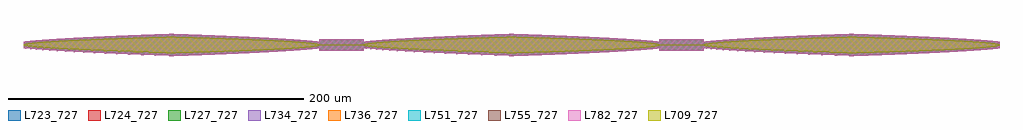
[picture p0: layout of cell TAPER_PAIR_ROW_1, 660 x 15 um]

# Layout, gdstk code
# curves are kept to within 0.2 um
from math import pi, radians
import gdstk
lib = gdstk.Library(unit=1e-6, precision=1e-09)
def R(c, l, rs):  # rectangles x0, y0, x1, y1
    for r in rs: c.add(gdstk.rectangle(r[:2], r[2:], *l))
def P(c, l, *ps):  # polygons
    for p in ps: c.add(gdstk.Polygon(p, *l))
L709_727 = (709, 727)
L723_727 = (723, 727)
L724_727 = (724, 727)
L727_727 = (727, 727)
L734_727 = (734, 727)
L736_727 = (736, 727)
L751_727 = (751, 727)
L755_727 = (755, 727)
L782_727 = (782, 727)

taper_pair_row_1_tp0_tap = lib.new_cell('TAPER_PAIR_ROW_1_tp0_TAPER_L')
P(taper_pair_row_1_tp0_tap, L709_727, [(-100,0.225),(-97.574,0.885),(-92.161,1.555),(-72.988,2.865),(-42.449,4.175),(0,5.5),(0,-5.5),(-45.451,-4.065),(-77.002,-2.645),(-95.36,-1.205),(-99.389,-0.485),(-100,-0.225)])
P(taper_pair_row_1_tp0_tap, L723_727, [(-100,2.225),(-85.015,3.555),(-63.513,4.865),(0,7.5),(0,-7.5),(-59.642,-5.065),(-96.116,-2.635),(-100,-2.225)])
P(taper_pair_row_1_tp0_tap, L724_727, [(-100,2.225),(-85.015,3.555),(-63.513,4.865),(0,7.5),(0,-7.5),(-59.642,-5.065),(-96.116,-2.635),(-100,-2.225)])
P(taper_pair_row_1_tp0_tap, L727_727, [(-100,2.225),(-85.015,3.555),(-63.513,4.865),(0,7.5),(0,-7.5),(-59.642,-5.065),(-96.116,-2.635),(-100,-2.225)])
P(taper_pair_row_1_tp0_tap, L734_727, [(-100,2.225),(-85.015,3.555),(-63.513,4.865),(0,7.5),(0,-7.5),(-59.642,-5.065),(-96.116,-2.635),(-100,-2.225)])
P(taper_pair_row_1_tp0_tap, L736_727, [(-100,2.225),(-85.015,3.555),(-63.513,4.865),(0,7.5),(0,-7.5),(-59.642,-5.065),(-96.116,-2.635),(-100,-2.225)])
P(taper_pair_row_1_tp0_tap, L751_727, [(-100,2.225),(-85.015,3.555),(-63.513,4.865),(0,7.5),(0,-7.5),(-59.642,-5.065),(-96.116,-2.635),(-100,-2.225)])
P(taper_pair_row_1_tp0_tap, L755_727, [(-100,2.225),(-85.015,3.555),(-63.513,4.865),(0,7.5),(0,-7.5),(-59.642,-5.065),(-96.116,-2.635),(-100,-2.225)])
P(taper_pair_row_1_tp0_tap, L782_727, [(-100,2.225),(-85.015,3.555),(-63.513,4.865),(0,7.5),(0,-7.5),(-59.642,-5.065),(-96.116,-2.635),(-100,-2.225)])

c_taper_pair_row_1_tp0_tap = lib.new_cell('TAPER_PAIR_ROW_1_tp0_TAPER_R')
P(c_taper_pair_row_1_tp0_tap, L709_727, [(-100,0.225),(-97.574,0.885),(-92.161,1.555),(-72.988,2.865),(-42.449,4.175),(0,5.5),(0,-5.5),(-45.451,-4.065),(-77.002,-2.645),(-95.36,-1.205),(-99.389,-0.485),(-100,-0.225)])
P(c_taper_pair_row_1_tp0_tap, L723_727, [(-100,2.225),(-85.015,3.555),(-63.513,4.865),(0,7.5),(0,-7.5),(-59.642,-5.065),(-96.116,-2.635),(-100,-2.225)])
P(c_taper_pair_row_1_tp0_tap, L724_727, [(-100,2.225),(-85.015,3.555),(-63.513,4.865),(0,7.5),(0,-7.5),(-59.642,-5.065),(-96.116,-2.635),(-100,-2.225)])
P(c_taper_pair_row_1_tp0_tap, L727_727, [(-100,2.225),(-85.015,3.555),(-63.513,4.865),(0,7.5),(0,-7.5),(-59.642,-5.065),(-96.116,-2.635),(-100,-2.225)])
P(c_taper_pair_row_1_tp0_tap, L734_727, [(-100,2.225),(-85.015,3.555),(-63.513,4.865),(0,7.5),(0,-7.5),(-59.642,-5.065),(-96.116,-2.635),(-100,-2.225)])
P(c_taper_pair_row_1_tp0_tap, L736_727, [(-100,2.225),(-85.015,3.555),(-63.513,4.865),(0,7.5),(0,-7.5),(-59.642,-5.065),(-96.116,-2.635),(-100,-2.225)])
P(c_taper_pair_row_1_tp0_tap, L751_727, [(-100,2.225),(-85.015,3.555),(-63.513,4.865),(0,7.5),(0,-7.5),(-59.642,-5.065),(-96.116,-2.635),(-100,-2.225)])
P(c_taper_pair_row_1_tp0_tap, L755_727, [(-100,2.225),(-85.015,3.555),(-63.513,4.865),(0,7.5),(0,-7.5),(-59.642,-5.065),(-96.116,-2.635),(-100,-2.225)])
P(c_taper_pair_row_1_tp0_tap, L782_727, [(-100,2.225),(-85.015,3.555),(-63.513,4.865),(0,7.5),(0,-7.5),(-59.642,-5.065),(-96.116,-2.635),(-100,-2.225)])

taper_pair_row_1_tp0 = lib.new_cell('TAPER_PAIR_ROW_1_tp0')
taper_pair_row_1_tp0.add(gdstk.Reference(taper_pair_row_1_tp0_tap, (0,0)))
taper_pair_row_1_tp0.add(gdstk.Reference(c_taper_pair_row_1_tp0_tap, (0,0), rotation=pi, x_reflection=True))

taper_pair_row_1_tp1_tap = lib.new_cell('TAPER_PAIR_ROW_1_tp1_TAPER_L')
P(taper_pair_row_1_tp1_tap, L709_727, [(-100,0.225),(-97.574,0.885),(-92.161,1.555),(-72.988,2.865),(-42.449,4.175),(0,5.5),(0,-5.5),(-45.451,-4.065),(-77.002,-2.645),(-95.36,-1.205),(-99.389,-0.485),(-100,-0.225)])
P(taper_pair_row_1_tp1_tap, L723_727, [(-100,2.225),(-85.015,3.555),(-63.513,4.865),(0,7.5),(0,-7.5),(-59.642,-5.065),(-96.116,-2.635),(-100,-2.225)])
P(taper_pair_row_1_tp1_tap, L724_727, [(-100,2.225),(-85.015,3.555),(-63.513,4.865),(0,7.5),(0,-7.5),(-59.642,-5.065),(-96.116,-2.635),(-100,-2.225)])
P(taper_pair_row_1_tp1_tap, L727_727, [(-100,2.225),(-85.015,3.555),(-63.513,4.865),(0,7.5),(0,-7.5),(-59.642,-5.065),(-96.116,-2.635),(-100,-2.225)])
P(taper_pair_row_1_tp1_tap, L734_727, [(-100,2.225),(-85.015,3.555),(-63.513,4.865),(0,7.5),(0,-7.5),(-59.642,-5.065),(-96.116,-2.635),(-100,-2.225)])
P(taper_pair_row_1_tp1_tap, L736_727, [(-100,2.225),(-85.015,3.555),(-63.513,4.865),(0,7.5),(0,-7.5),(-59.642,-5.065),(-96.116,-2.635),(-100,-2.225)])
P(taper_pair_row_1_tp1_tap, L751_727, [(-100,2.225),(-85.015,3.555),(-63.513,4.865),(0,7.5),(0,-7.5),(-59.642,-5.065),(-96.116,-2.635),(-100,-2.225)])
P(taper_pair_row_1_tp1_tap, L755_727, [(-100,2.225),(-85.015,3.555),(-63.513,4.865),(0,7.5),(0,-7.5),(-59.642,-5.065),(-96.116,-2.635),(-100,-2.225)])
P(taper_pair_row_1_tp1_tap, L782_727, [(-100,2.225),(-85.015,3.555),(-63.513,4.865),(0,7.5),(0,-7.5),(-59.642,-5.065),(-96.116,-2.635),(-100,-2.225)])

c_taper_pair_row_1_tp1_tap = lib.new_cell('TAPER_PAIR_ROW_1_tp1_TAPER_R')
P(c_taper_pair_row_1_tp1_tap, L709_727, [(-100,0.225),(-97.574,0.885),(-92.161,1.555),(-72.988,2.865),(-42.449,4.175),(0,5.5),(0,-5.5),(-45.451,-4.065),(-77.002,-2.645),(-95.36,-1.205),(-99.389,-0.485),(-100,-0.225)])
P(c_taper_pair_row_1_tp1_tap, L723_727, [(-100,2.225),(-85.015,3.555),(-63.513,4.865),(0,7.5),(0,-7.5),(-59.642,-5.065),(-96.116,-2.635),(-100,-2.225)])
P(c_taper_pair_row_1_tp1_tap, L724_727, [(-100,2.225),(-85.015,3.555),(-63.513,4.865),(0,7.5),(0,-7.5),(-59.642,-5.065),(-96.116,-2.635),(-100,-2.225)])
P(c_taper_pair_row_1_tp1_tap, L727_727, [(-100,2.225),(-85.015,3.555),(-63.513,4.865),(0,7.5),(0,-7.5),(-59.642,-5.065),(-96.116,-2.635),(-100,-2.225)])
P(c_taper_pair_row_1_tp1_tap, L734_727, [(-100,2.225),(-85.015,3.555),(-63.513,4.865),(0,7.5),(0,-7.5),(-59.642,-5.065),(-96.116,-2.635),(-100,-2.225)])
P(c_taper_pair_row_1_tp1_tap, L736_727, [(-100,2.225),(-85.015,3.555),(-63.513,4.865),(0,7.5),(0,-7.5),(-59.642,-5.065),(-96.116,-2.635),(-100,-2.225)])
P(c_taper_pair_row_1_tp1_tap, L751_727, [(-100,2.225),(-85.015,3.555),(-63.513,4.865),(0,7.5),(0,-7.5),(-59.642,-5.065),(-96.116,-2.635),(-100,-2.225)])
P(c_taper_pair_row_1_tp1_tap, L755_727, [(-100,2.225),(-85.015,3.555),(-63.513,4.865),(0,7.5),(0,-7.5),(-59.642,-5.065),(-96.116,-2.635),(-100,-2.225)])
P(c_taper_pair_row_1_tp1_tap, L782_727, [(-100,2.225),(-85.015,3.555),(-63.513,4.865),(0,7.5),(0,-7.5),(-59.642,-5.065),(-96.116,-2.635),(-100,-2.225)])

taper_pair_row_1_tp1 = lib.new_cell('TAPER_PAIR_ROW_1_tp1')
taper_pair_row_1_tp1.add(gdstk.Reference(taper_pair_row_1_tp1_tap, (0,0)))
taper_pair_row_1_tp1.add(gdstk.Reference(c_taper_pair_row_1_tp1_tap, (0,0), rotation=pi, x_reflection=True))

taper_pair_row_1_wg1 = lib.new_cell('TAPER_PAIR_ROW_1_WG1')
R(taper_pair_row_1_wg1, L709_727, [(100,-0.2,130,0.2)])
P(taper_pair_row_1_wg1, L723_727, [(100,-4),(130,-4),(130,-0.2),(130,0.2),(130,4),(100,4),(100,0.2),(100,-0.2)])
P(taper_pair_row_1_wg1, L724_727, [(100,-4),(130,-4),(130,-0.2),(130,0.2),(130,4),(100,4),(100,0.2),(100,-0.2)])
P(taper_pair_row_1_wg1, L727_727, [(100,-4),(130,-4),(130,-0.2),(130,0.2),(130,4),(100,4),(100,0.2),(100,-0.2)])
P(taper_pair_row_1_wg1, L734_727, [(100,-4),(130,-4),(130,-0.2),(130,0.2),(130,4),(100,4),(100,0.2),(100,-0.2)])
P(taper_pair_row_1_wg1, L736_727, [(100,-4),(130,-4),(130,-0.2),(130,0.2),(130,4),(100,4),(100,0.2),(100,-0.2)])
P(taper_pair_row_1_wg1, L751_727, [(100,-4),(130,-4),(130,-0.2),(130,0.2),(130,4),(100,4),(100,0.2),(100,-0.2)])
P(taper_pair_row_1_wg1, L755_727, [(100,-4),(130,-4),(130,-0.2),(130,0.2),(130,4),(100,4),(100,0.2),(100,-0.2)])
P(taper_pair_row_1_wg1, L782_727, [(100,-4),(130,-4),(130,-0.2),(130,0.2),(130,4),(100,4),(100,0.2),(100,-0.2)])

taper_pair_row_1_tp2_tap = lib.new_cell('TAPER_PAIR_ROW_1_tp2_TAPER_L')
P(taper_pair_row_1_tp2_tap, L709_727, [(-100,0.225),(-97.574,0.885),(-92.161,1.555),(-72.988,2.865),(-42.449,4.175),(0,5.5),(0,-5.5),(-45.451,-4.065),(-77.002,-2.645),(-95.36,-1.205),(-99.389,-0.485),(-100,-0.225)])
P(taper_pair_row_1_tp2_tap, L723_727, [(-100,2.225),(-85.015,3.555),(-63.513,4.865),(0,7.5),(0,-7.5),(-59.642,-5.065),(-96.116,-2.635),(-100,-2.225)])
P(taper_pair_row_1_tp2_tap, L724_727, [(-100,2.225),(-85.015,3.555),(-63.513,4.865),(0,7.5),(0,-7.5),(-59.642,-5.065),(-96.116,-2.635),(-100,-2.225)])
P(taper_pair_row_1_tp2_tap, L727_727, [(-100,2.225),(-85.015,3.555),(-63.513,4.865),(0,7.5),(0,-7.5),(-59.642,-5.065),(-96.116,-2.635),(-100,-2.225)])
P(taper_pair_row_1_tp2_tap, L734_727, [(-100,2.225),(-85.015,3.555),(-63.513,4.865),(0,7.5),(0,-7.5),(-59.642,-5.065),(-96.116,-2.635),(-100,-2.225)])
P(taper_pair_row_1_tp2_tap, L736_727, [(-100,2.225),(-85.015,3.555),(-63.513,4.865),(0,7.5),(0,-7.5),(-59.642,-5.065),(-96.116,-2.635),(-100,-2.225)])
P(taper_pair_row_1_tp2_tap, L751_727, [(-100,2.225),(-85.015,3.555),(-63.513,4.865),(0,7.5),(0,-7.5),(-59.642,-5.065),(-96.116,-2.635),(-100,-2.225)])
P(taper_pair_row_1_tp2_tap, L755_727, [(-100,2.225),(-85.015,3.555),(-63.513,4.865),(0,7.5),(0,-7.5),(-59.642,-5.065),(-96.116,-2.635),(-100,-2.225)])
P(taper_pair_row_1_tp2_tap, L782_727, [(-100,2.225),(-85.015,3.555),(-63.513,4.865),(0,7.5),(0,-7.5),(-59.642,-5.065),(-96.116,-2.635),(-100,-2.225)])

c_taper_pair_row_1_tp2_tap = lib.new_cell('TAPER_PAIR_ROW_1_tp2_TAPER_R')
P(c_taper_pair_row_1_tp2_tap, L709_727, [(-100,0.225),(-97.574,0.885),(-92.161,1.555),(-72.988,2.865),(-42.449,4.175),(0,5.5),(0,-5.5),(-45.451,-4.065),(-77.002,-2.645),(-95.36,-1.205),(-99.389,-0.485),(-100,-0.225)])
P(c_taper_pair_row_1_tp2_tap, L723_727, [(-100,2.225),(-85.015,3.555),(-63.513,4.865),(0,7.5),(0,-7.5),(-59.642,-5.065),(-96.116,-2.635),(-100,-2.225)])
P(c_taper_pair_row_1_tp2_tap, L724_727, [(-100,2.225),(-85.015,3.555),(-63.513,4.865),(0,7.5),(0,-7.5),(-59.642,-5.065),(-96.116,-2.635),(-100,-2.225)])
P(c_taper_pair_row_1_tp2_tap, L727_727, [(-100,2.225),(-85.015,3.555),(-63.513,4.865),(0,7.5),(0,-7.5),(-59.642,-5.065),(-96.116,-2.635),(-100,-2.225)])
P(c_taper_pair_row_1_tp2_tap, L734_727, [(-100,2.225),(-85.015,3.555),(-63.513,4.865),(0,7.5),(0,-7.5),(-59.642,-5.065),(-96.116,-2.635),(-100,-2.225)])
P(c_taper_pair_row_1_tp2_tap, L736_727, [(-100,2.225),(-85.015,3.555),(-63.513,4.865),(0,7.5),(0,-7.5),(-59.642,-5.065),(-96.116,-2.635),(-100,-2.225)])
P(c_taper_pair_row_1_tp2_tap, L751_727, [(-100,2.225),(-85.015,3.555),(-63.513,4.865),(0,7.5),(0,-7.5),(-59.642,-5.065),(-96.116,-2.635),(-100,-2.225)])
P(c_taper_pair_row_1_tp2_tap, L755_727, [(-100,2.225),(-85.015,3.555),(-63.513,4.865),(0,7.5),(0,-7.5),(-59.642,-5.065),(-96.116,-2.635),(-100,-2.225)])
P(c_taper_pair_row_1_tp2_tap, L782_727, [(-100,2.225),(-85.015,3.555),(-63.513,4.865),(0,7.5),(0,-7.5),(-59.642,-5.065),(-96.116,-2.635),(-100,-2.225)])

taper_pair_row_1_tp2 = lib.new_cell('TAPER_PAIR_ROW_1_tp2')
taper_pair_row_1_tp2.add(gdstk.Reference(taper_pair_row_1_tp2_tap, (0,0)))
taper_pair_row_1_tp2.add(gdstk.Reference(c_taper_pair_row_1_tp2_tap, (0,0), rotation=pi, x_reflection=True))

taper_pair_row_1_wg2 = lib.new_cell('TAPER_PAIR_ROW_1_WG2')
R(taper_pair_row_1_wg2, L709_727, [(330,-0.2,360,0.2)])
P(taper_pair_row_1_wg2, L723_727, [(330,-4),(360,-4),(360,-0.2),(360,0.2),(360,4),(330,4),(330,0.2),(330,-0.2)])
P(taper_pair_row_1_wg2, L724_727, [(330,-4),(360,-4),(360,-0.2),(360,0.2),(360,4),(330,4),(330,0.2),(330,-0.2)])
P(taper_pair_row_1_wg2, L727_727, [(330,-4),(360,-4),(360,-0.2),(360,0.2),(360,4),(330,4),(330,0.2),(330,-0.2)])
P(taper_pair_row_1_wg2, L734_727, [(330,-4),(360,-4),(360,-0.2),(360,0.2),(360,4),(330,4),(330,0.2),(330,-0.2)])
P(taper_pair_row_1_wg2, L736_727, [(330,-4),(360,-4),(360,-0.2),(360,0.2),(360,4),(330,4),(330,0.2),(330,-0.2)])
P(taper_pair_row_1_wg2, L751_727, [(330,-4),(360,-4),(360,-0.2),(360,0.2),(360,4),(330,4),(330,0.2),(330,-0.2)])
P(taper_pair_row_1_wg2, L755_727, [(330,-4),(360,-4),(360,-0.2),(360,0.2),(360,4),(330,4),(330,0.2),(330,-0.2)])
P(taper_pair_row_1_wg2, L782_727, [(330,-4),(360,-4),(360,-0.2),(360,0.2),(360,4),(330,4),(330,0.2),(330,-0.2)])

taper_pair_row_1 = lib.new_cell('TAPER_PAIR_ROW_1')
taper_pair_row_1.add(gdstk.Reference(taper_pair_row_1_tp0, (0,0)))
taper_pair_row_1.add(gdstk.Reference(taper_pair_row_1_tp1, (230,0)))
taper_pair_row_1.add(gdstk.Reference(taper_pair_row_1_wg1, (0,0)))
taper_pair_row_1.add(gdstk.Reference(taper_pair_row_1_tp2, (460,0)))
taper_pair_row_1.add(gdstk.Reference(taper_pair_row_1_wg2, (0,0)))

lib.write_gds('TAPER_PAIR_ROW_1.gds')
